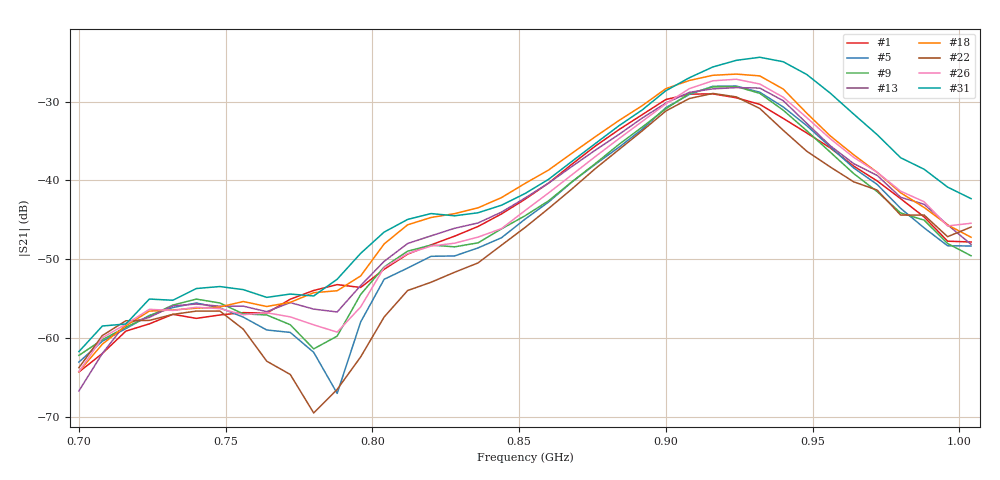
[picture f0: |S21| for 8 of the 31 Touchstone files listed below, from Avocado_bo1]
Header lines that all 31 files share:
# Hz S RI R 50
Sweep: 700 MHz to 1.004 GHz
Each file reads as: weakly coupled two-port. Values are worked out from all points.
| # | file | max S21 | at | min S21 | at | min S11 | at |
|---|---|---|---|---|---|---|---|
| 1 | bo1.s2p | -29.03 dB | 916 MHz | -64.3 dB | 700 MHz | -23.1 dB | 924 MHz |
| 2 | bo1x1 (1).s2p | -32.35 dB | 916 MHz | -62.5 dB | 772 MHz | -29.8 dB | 924 MHz |
| 3 | bo1x1 (2).s2p | -31.16 dB | 916 MHz | -68.5 dB | 780 MHz | -21.4 dB | 924 MHz |
| 4 | bo1x1 (3).s2p | -28.73 dB | 924 MHz | -71.5 dB | 780 MHz | -23.9 dB | 924 MHz |
| 5 | bo1x1 (4).s2p | -28.04 dB | 924 MHz | -67.0 dB | 788 MHz | -20.3 dB | 924 MHz |
| 6 | bo1x1 (5).s2p | -31.75 dB | 916 MHz | -63.9 dB | 788 MHz | -24.9 dB | 924 MHz |
| 7 | bo1x1 (6).s2p | -27.96 dB | 924 MHz | -64.3 dB | 700 MHz | -25.5 dB | 924 MHz |
| 8 | bo1x1 (7).s2p | -28.68 dB | 924 MHz | -75.0 dB | 788 MHz | -24.8 dB | 924 MHz |
| 9 | bo1x1 (8).s2p | -28.10 dB | 924 MHz | -62.2 dB | 700 MHz | -22.6 dB | 924 MHz |
| 10 | bo1x1 (9).s2p | -29.29 dB | 916 MHz | -63.4 dB | 788 MHz | -31.4 dB | 924 MHz |
| 11 | bo1x1 (10).s2p | -30.51 dB | 924 MHz | -72.0 dB | 796 MHz | -34.0 dB | 924 MHz |
| 12 | bo1x2 (1).s2p | -26.39 dB | 916 MHz | -66.3 dB | 700 MHz | -14.1 dB | 916 MHz |
| 13 | bo1x2 (2).s2p | -28.24 dB | 924 MHz | -66.6 dB | 700 MHz | -18.9 dB | 924 MHz |
| 14 | bo1x2 (3).s2p | -25.99 dB | 924 MHz | -66.5 dB | 700 MHz | -16.2 dB | 924 MHz |
| 15 | bo1x2 (4).s2p | -25.67 dB | 924 MHz | -66.6 dB | 700 MHz | -14.7 dB | 924 MHz |
| 16 | bo1x2 (5).s2p | -28.69 dB | 924 MHz | -63.9 dB | 700 MHz | -17.5 dB | 924 MHz |
| 17 | bo1x2 (6).s2p | -26.37 dB | 924 MHz | -64.4 dB | 700 MHz | -16.9 dB | 924 MHz |
| 18 | bo1x2 (7).s2p | -26.53 dB | 924 MHz | -64.2 dB | 700 MHz | -13.4 dB | 916 MHz |
| 19 | bo1x2 (8).s2p | -25.91 dB | 924 MHz | -64.4 dB | 700 MHz | -16.0 dB | 924 MHz |
| 20 | bo1x2 (9).s2p | -26.45 dB | 924 MHz | -65.2 dB | 700 MHz | -15.4 dB | 924 MHz |
| 21 | bo1x2 (10).s2p | -27.00 dB | 924 MHz | -64.7 dB | 700 MHz | -18.8 dB | 924 MHz |
| 22 | bo2.s2p | -28.98 dB | 916 MHz | -69.4 dB | 780 MHz | -17.0 dB | 916 MHz |
| 23 | bo3.s2p | -26.71 dB | 916 MHz | -63.1 dB | 700 MHz | -21.5 dB | 924 MHz |
| 24 | bo4.s2p | -25.68 dB | 924 MHz | -64.6 dB | 700 MHz | -20.4 dB | 924 MHz |
| 25 | bo5.s2p | -30.86 dB | 916 MHz | -69.1 dB | 804 MHz | -18.9 dB | 924 MHz |
| 26 | bo6.s2p | -27.18 dB | 924 MHz | -64.2 dB | 700 MHz | -18.9 dB | 924 MHz |
| 27 | bo7.s2p | -27.20 dB | 924 MHz | -62.7 dB | 700 MHz | -17.1 dB | 924 MHz |
| 28 | bo8.s2p | -26.82 dB | 924 MHz | -62.9 dB | 700 MHz | -16.8 dB | 924 MHz |
| 29 | bo9.s2p | -27.35 dB | 924 MHz | -62.7 dB | 700 MHz | -16.3 dB | 924 MHz |
| 30 | bo10.s2p | -28.63 dB | 924 MHz | -62.3 dB | 700 MHz | -17.2 dB | 924 MHz |
| 31 | moitruongbo.s2p | -24.39 dB | 932 MHz | -61.7 dB | 700 MHz | -20.4 dB | 932 MHz |
